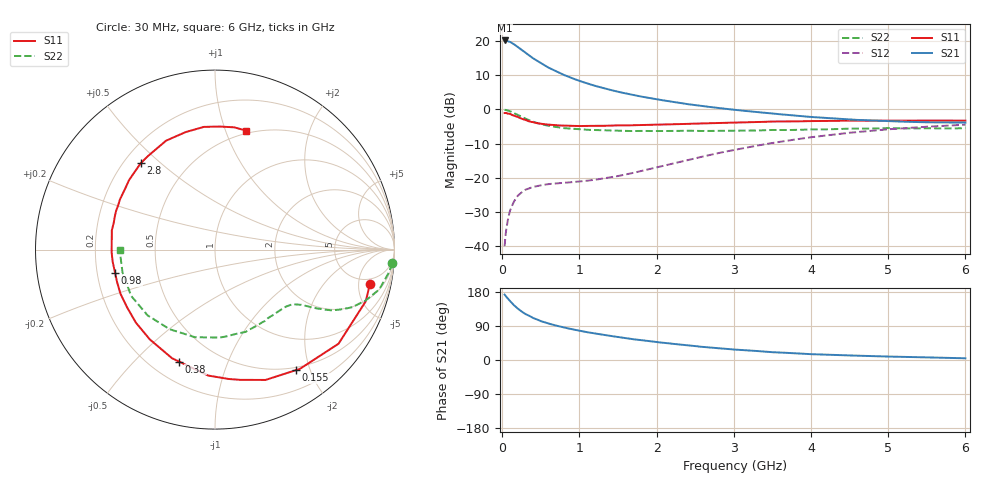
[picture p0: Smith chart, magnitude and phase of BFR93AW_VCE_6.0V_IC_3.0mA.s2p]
! Infineon Technologies  Discrete & RF Semiconductors
! BFR93AW
! VCE =  6.0 V,  IC =  3.0 mA
! Common Emitter S-Parameters:  Nov 2015
# GHz  S  MA  R  50
!  f  S11  S21  S12  S22
! GHz  MAG  ANG  MAG  ANG  MAG  ANG  MAG  ANG
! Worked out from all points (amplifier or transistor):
!   206 points, 30 MHz to 6 GHz, reference 50 ohm
!   highest |S21| = 20.1 dB at 30 MHz (marker M1)
!   |S21| within 3 dB of that: start of sweep to 266 MHz
!   unconditionally stable (mu >= 1): 1.097 GHz to 2.264 GHz
!   at 200 MHz: K = 0.20, MSG = 21.7 dB, |S12| = -25.2 dB
!   at 1.56 GHz: K = 1.12, MAG = 9.9 dB, |S12| = -19.2 dB
!   at 6 GHz: K = 0.96, MSG = 0.3 dB, |S12| = -4.5 dB
!   S11 on the Smith chart (normalised r, x): 30 MHz: 3.99, -6.94; 155 MHz: 0.46, -1.79; 380 MHz: 0.31, -0.68; 980 MHz: 0.28, -0.11; 2.8 GHz: 0.27, +0.43; 6 GHz: 0.47, +1.18
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0.03  0.8841 -12.4  10.13 172.5  0.0101 83.6  0.9884 -4.4
0.05  0.888 -18.9  10.1 167.3  0.0173 80.1  0.9801 -7.1
0.1  0.8653 -37.3  9.697 155.6  0.0332 70.8  0.942 -13.6
0.155  0.8098 -56.0  8.861 143.8  0.0459 62.3  0.8795 -19.1
0.2  0.7789 -68.8  8.182 135.7  0.0549 56.8  0.8303 -22.7
0.24  0.739 -79.1  7.543 129.5  0.0603 52.0  0.7868 -24.9
0.3  0.7027 -93.1  6.72 121.3  0.0672 47.1  0.7307 -27.6
0.38  0.6555 -107.7  5.771 113.2  0.0726 43.4  0.673 -29.4
0.4  0.6508 -111.6  5.556 110.8  0.074 42.5  0.6587 -29.9
0.5  0.6183 -126.0  4.721 102.5  0.0783 39.9  0.6083 -31.4
0.6  0.5999 -137.3  4.058 96.0  0.0813 39.1  0.5756 -32.4
0.8  0.5812 -155.1  3.177 85.6  0.0847 40.2  0.5322 -35.0
0.98  0.5715 -166.7  2.653 78.1  0.0884 43.5  0.5145 -37.3
1.04  0.5719 -170.2  2.517 75.8  0.0897 44.7  0.509 -38.4
1.2  0.576 -178.3  2.207 70.0  0.0939 48.5  0.4998 -41.3
1.5  0.5848 169.4  1.805 60.6  0.1066 56.3  0.4894 -47.6
2.02  0.5991 151.5  1.391 46.9  0.144 65.8  0.484 -60.3
2.8  0.635 130.6  1.049 31.0  0.2308 68.8  0.4873 -81.5
3.1  0.6439 123.3  0.961 26.4  0.2682 67.0  0.4895 -89.9
4.1  0.6759 102.2  0.762 14.7  0.4045 55.9  0.5102 -123.0
5.1  0.686 86.5  0.667 8.7  0.5206 41.3  0.5301 -154.1
6  0.6852 75.4  0.642 4.5  0.5982 28.7  0.5312 -179.6
